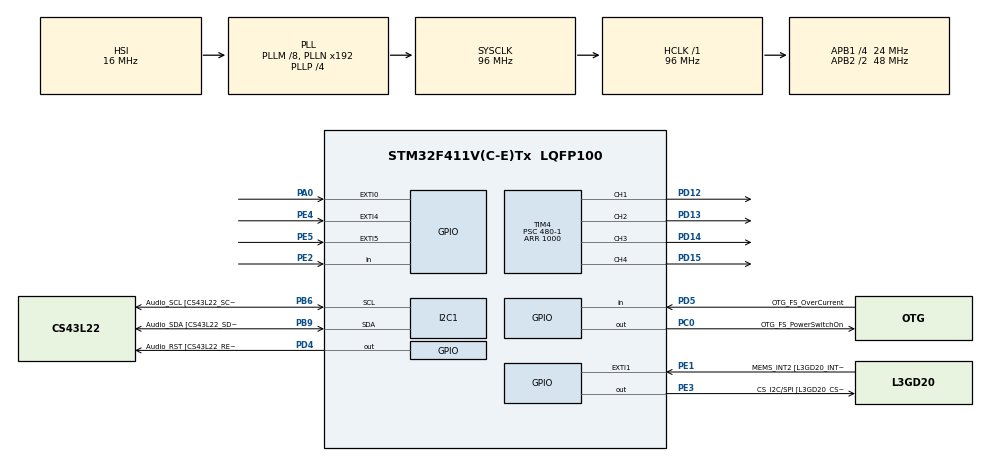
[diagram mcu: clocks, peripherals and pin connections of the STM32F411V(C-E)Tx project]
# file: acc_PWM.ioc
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Mcu.Family=STM32F4
Mcu.Name=STM32F411V(C-E)Tx
Mcu.Package=LQFP100
NVIC.PriorityGroup=NVIC_PRIORITYGROUP_0
NVIC.TIM4_IRQn=true\:0\:0\:false\:false\:true\:true\:true\:true
PA0-WKUP.GPIO_ModeDefaultEXTI=GPIO_MODE_EVT_RISING
PA0-WKUP.Signal=GPXTI0
PA10.GPIO_Label=OTG_FS_ID
PA10.Signal=USB_OTG_FS_ID
PA11.GPIO_Label=OTG_FS_DM
PA11.Signal=USB_OTG_FS_DM
PA12.GPIO_Label=OTG_FS_DP
PA12.Signal=USB_OTG_FS_DP
PA13.GPIO_Label=SWDIO
PA13.Signal=SYS_JTMS-SWDIO
PA14.GPIO_Label=SWCLK
PA14.Signal=SYS_JTCK-SWCLK
PA4.GPIO_Label=I2S3_WS [CS43L22_LRCK]
PA4.GPIO_Mode=GPIO_MODE_AF_PP
PA4.GPIO_PuPd=GPIO_NOPULL
PA4.GPIO_Speed=GPIO_SPEED_FREQ_LOW
PA4.Signal=I2S3_WS
PA5.GPIO_Label=SPI1_SCK [L3GD20_SC/SPC]
PA5.Signal=SPI1_SCK
PA6.GPIO_Label=SPI1_MISO [L3GD20_AS0/SDO]
PA6.Signal=SPI1_MISO
PA7.GPIO_Label=SPI1_MOSI [L3GD20_SDA/SDI/SDO]
PA7.Signal=SPI1_MOSI
PA9.GPIO_Label=VBUS_FS
PA9.Signal=USB_OTG_FS_VBUS
PB10.GPIO_Label=CLK_IN [MP45DT02_CLK]
PB10.Signal=I2S2_CK
PB12.Signal=I2S2_WS
PB3.GPIO_Label=SWO
PB3.Signal=SYS_JTDO-SWO
PB6.GPIO_Label=Audio_SCL [CS43L22_SCL]
PB6.GPIO_Mode=GPIO_MODE_AF_OD
PB6.GPIO_PuPd=GPIO_NOPULL
PB6.GPIO_Speed=GPIO_SPEED_FREQ_LOW
PB6.Mode=I2C
PB6.Signal=I2C1_SCL
PB9.GPIO_Label=Audio_SDA [CS43L22_SDA]
PB9.GPIO_Mode=GPIO_MODE_AF_OD
PB9.GPIO_PuPd=GPIO_NOPULL
PB9.GPIO_Speed=GPIO_SPEED_FREQ_LOW
PB9.Mode=I2C
PB9.Signal=I2C1_SDA
PC0.GPIO_Label=OTG_FS_PowerSwitchOn
PC0.PinState=GPIO_PIN_SET
PC0.Signal=GPIO_Output
PC10.GPIO_Label=I2S3_SCK [CS43L22_SCLK]
PC10.GPIO_Mode=GPIO_MODE_AF_PP
PC10.GPIO_PuPd=GPIO_NOPULL
PC10.GPIO_Speed=GPIO_SPEED_FREQ_LOW
PC10.Signal=I2S3_CK
PC12.GPIO_Label=I2S3_SD [CS43L22_SDIN]
PC12.GPIO_Mode=GPIO_MODE_AF_PP
PC12.GPIO_PuPd=GPIO_NOPULL
PC12.GPIO_Speed=GPIO_SPEED_FREQ_LOW
PC12.Signal=I2S3_SD
PC14-OSC32_IN.GPIO_Label=PC14-OSC32_IN
PC14-OSC32_IN.Signal=RCC_OSC32_IN
PC15-OSC32_OUT.GPIO_Label=PC15-OSC32_OUT
PC15-OSC32_OUT.Signal=RCC_OSC32_OUT
PC3.GPIO_Label=PDM_OUT [MP45DT02_DOUT]
PC3.Signal=I2S2_SD
PC7.GPIO_Label=I2S3_MCK [CS43L22_MCLK]
PC7.GPIO_Mode=GPIO_MODE_AF_PP
PC7.GPIO_PuPd=GPIO_NOPULL
PC7.GPIO_Speed=GPIO_SPEED_FREQ_LOW
PC7.Signal=I2S3_MCK
PD12.Signal=S_TIM4_CH1
PD13.Signal=S_TIM4_CH2
PD14.Signal=S_TIM4_CH3
PD15.Signal=S_TIM4_CH4
PD4.GPIO_Label=Audio_RST [CS43L22_RESET]
PD4.Signal=GPIO_Output
PD5.GPIO_Label=OTG_FS_OverCurrent
PD5.Signal=GPIO_Input
PE1.GPIO_Label=MEMS_INT2 [L3GD20_INT2]
PE1.GPIO_ModeDefaultEXTI=GPIO_MODE_EVT_RISING
PE1.Signal=GPXTI1
PE2.Signal=GPIO_Input
PE3.GPIO_Label=CS_I2C/SPI [L3GD20_CS_I2C/SPI]
PE3.Signal=GPIO_Output
PE4.GPIO_ModeDefaultEXTI=GPIO_MODE_EVT_RISING
PE4.Signal=GPXTI4
PE5.GPIO_ModeDefaultEXTI=GPIO_MODE_EVT_RISING
PE5.Signal=GPXTI5
PH0\ -\ OSC_IN.GPIO_Label=PH0-OSC_IN
PH0\ -\ OSC_IN.Signal=RCC_OSC_IN
PH1\ -\ OSC_OUT.GPIO_Label=PH1-OSC_OUT
PH1\ -\ OSC_OUT.Signal=RCC_OSC_OUT
ProjectManager.HeapSize=0x200
ProjectManager.StackSize=0x400
ProjectManager.TargetToolchain=STM32CubeIDE
RCC.48MHZClocksFreq_Value=48000000
RCC.AHBFreq_Value=96000000
RCC.APB1CLKDivider=RCC_HCLK_DIV4
RCC.APB1Freq_Value=24000000
RCC.APB1TimFreq_Value=48000000
RCC.APB2CLKDivider=RCC_HCLK_DIV2
RCC.APB2Freq_Value=48000000
RCC.APB2TimFreq_Value=96000000
RCC.CortexFreq_Value=96000000
RCC.HCLKFreq_Value=96000000
RCC.HSE_VALUE=8000000
RCC.HSI_VALUE=16000000
RCC.LSE_VALUE=32768
RCC.PLLI2SM=5
RCC.PLLI2SN=200
RCC.PLLM=8
RCC.PLLP=RCC_PLLP_DIV4
RCC.PLLQ=8
RCC.SYSCLKFreq_VALUE=96000000
RCC.SYSCLKSource=RCC_SYSCLKSOURCE_PLLCLK
RCC.VCOOutputFreq_Value=384000000
SH.S_TIM4_CH1.0=TIM4_CH1,PWM Generation1 CH1
SH.S_TIM4_CH2.0=TIM4_CH2,PWM Generation2 CH2
SH.S_TIM4_CH3.0=TIM4_CH3,PWM Generation3 CH3
SH.S_TIM4_CH4.0=TIM4_CH4,PWM Generation4 CH4
TIM4.Channel-PWM\ Generation1\ CH1=TIM_CHANNEL_1
TIM4.Channel-PWM\ Generation2\ CH2=TIM_CHANNEL_2
TIM4.Channel-PWM\ Generation3\ CH3=TIM_CHANNEL_3
TIM4.Channel-PWM\ Generation4\ CH4=TIM_CHANNEL_4
TIM4.Period=1000
TIM4.Prescaler=480-1
TIM4.Pulse-PWM\ Generation1\ CH1=250
TIM4.Pulse-PWM\ Generation2\ CH2=250
TIM4.Pulse-PWM\ Generation3\ CH3=250
TIM4.Pulse-PWM\ Generation4\ CH4=250
VP_TIM4_VS_ClockSourceINT.Mode=Internal
board=STM32F411E-DISCO

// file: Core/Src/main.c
/* USER CODE BEGIN Header */
/**
  ******************************************************************************
  * @file           : main.c
  * @brief          : Main program body
  ******************************************************************************
  * @attention
  *
  * Copyright (c) 2024 STMicroelectronics.
  * All rights reserved.
  *
  * This software is licensed under terms that can be found in the LICENSE file
  * in the root directory of this software component.
  * If no LICENSE file comes with this software, it is provided AS-IS.
  *
  *`Stwórz układ wykorzystujący akcelerometr lub żyroskop do wykrywania poziomu i zapalający
  *	diodę wskazującą kierunek przechylenia płytki.
  *
  ******************************************************************************
  */
/* USER CODE END Header */
#include "main.h"

/* USER CODE BEGIN Includes */
#include <stdio.h>
#include <math.h>
/* USER CODE END Includes */

/* USER CODE BEGIN PTD */
   volatile float xf, yf, zf;
/* USER CODE END PTD */

I2C_HandleTypeDef hi2c1;

TIM_HandleTypeDef htim4;

void SystemClock_Config(void);
static void MX_GPIO_Init(void);
static void MX_I2C1_Init(void);
static void MX_TIM4_Init(void);
/* USER CODE BEGIN PFP */
extern void initialise_monitor_handles(void);
/* USER CODE END PFP */

int main(void)
{

  /* MCU Configuration--------------------------------------------------------*/

  /* Reset of all peripherals, Initializes the Flash interface and the Systick. */
  HAL_Init();

  /* Configure the system clock */
  SystemClock_Config();

  /* USER CODE BEGIN SysInit */
  	initialise_monitor_handles();
	printf("Hello World!\n");
  /* USER CODE END SysInit */

  /* Initialize all configured peripherals */
  MX_GPIO_Init();
  MX_I2C1_Init();
  MX_TIM4_Init();
  /* USER CODE BEGIN 2 */
  // uruchomienie zegara i ch3
	  HAL_TIM_Base_Start_IT(&htim4);
  	  HAL_TIM_PWM_Start_IT(&htim4, TIM_CHANNEL_1);
  	  HAL_TIM_PWM_Start_IT(&htim4, TIM_CHANNEL_2);
  	  HAL_TIM_PWM_Start_IT(&htim4, TIM_CHANNEL_3);
  	  HAL_TIM_PWM_Start_IT(&htim4, TIM_CHANNEL_4);

   uint8_t i2c_receive_buf[6];
   uint8_t i2c_transmit_buf[6];

   uint8_t WHO_AM_I_reg = 0x0F;

   uint8_t ACC_I2C_ADDR = 0b0011001 << 1;

   uint8_t bytes_to_receive = 1;

   HAL_I2C_Mem_Read(&hi2c1, ACC_I2C_ADDR, WHO_AM_I_reg, 1,i2c_receive_buf, bytes_to_receive, 50);

   printf("WHO_AM_I_A: 0x%02X\n", i2c_receive_buf[0]);

 // ------------------------------------------------------- //
   uint8_t CTRL_REG1_A_reg = 0x20;
   HAL_I2C_Mem_Read(&hi2c1, ACC_I2C_ADDR, CTRL_REG1_A_reg, 1,i2c_receive_buf, bytes_to_receive, 50);
   printf("CTRL_REG1_A przed zapisem: 0x%02X\n", i2c_receive_buf[0]);

   i2c_transmit_buf[0] = 0b01010111;
   HAL_I2C_Mem_Write(&hi2c1, ACC_I2C_ADDR, CTRL_REG1_A_reg, 1, i2c_transmit_buf, 1, 50);

   HAL_I2C_Mem_Read(&hi2c1, ACC_I2C_ADDR, CTRL_REG1_A_reg, 1,i2c_receive_buf, bytes_to_receive, 50);
   printf("CTRL_REG1_A po zapisie: 0x%02X\n", i2c_receive_buf[0]);

  /* USER CODE END 2 */

  /* Infinite loop */
  /* USER CODE BEGIN WHILE */
   int16_t x, y, z;

   	float wspolczynnik_fizyczny = 2;

   // float xf, yf, zf;

   	int16_t i2c_receive16bit_buf[3];
   	uint8_t SAMPLES_START_reg = 0x28;
   	uint8_t AUTO_INCREMENT_ADDR = 0x01 << 7;
   	bytes_to_receive = 6;

     while (1)
     {
   	  	HAL_I2C_Mem_Read(&hi2c1, ACC_I2C_ADDR, SAMPLES_START_reg | AUTO_INCREMENT_ADDR, 1, i2c_receive16bit_buf, bytes_to_receive, 50);
   		x = i2c_receive16bit_buf[0];
   		y = i2c_receive16bit_buf[1];
   		z = i2c_receive16bit_buf[2];

   		xf = (float)x / pow(2,15)*wspolczynnik_fizyczny;
   		yf = (float)y / pow(2,15)*wspolczynnik_fizyczny;
   		zf = (float)z / pow(2,15)*wspolczynnik_fizyczny;

   		printf("xf: %04.2f, yf: %04.2f, zf: %04.2f\n", xf, yf, zf);
    /* USER CODE END WHILE */

  }
}

void SystemClock_Config(void)
{
  RCC_OscInitTypeDef RCC_OscInitStruct = {0};
  RCC_ClkInitTypeDef RCC_ClkInitStruct = {0};

  /** Configure the main internal regulator output voltage
  */
  __HAL_RCC_PWR_CLK_ENABLE();
  __HAL_PWR_VOLTAGESCALING_CONFIG(PWR_REGULATOR_VOLTAGE_SCALE1);

  /** Initializes the RCC Oscillators according to the specified parameters
  * in the RCC_OscInitTypeDef structure.
  */
  RCC_OscInitStruct.OscillatorType = RCC_OSCILLATORTYPE_HSI;
  RCC_OscInitStruct.HSIState = RCC_HSI_ON;
  RCC_OscInitStruct.HSICalibrationValue = RCC_HSICALIBRATION_DEFAULT;
  RCC_OscInitStruct.PLL.PLLState = RCC_PLL_ON;
  RCC_OscInitStruct.PLL.PLLSource = RCC_PLLSOURCE_HSI;
  RCC_OscInitStruct.PLL.PLLM = 8;
  RCC_OscInitStruct.PLL.PLLN = 192;
  RCC_OscInitStruct.PLL.PLLP = RCC_PLLP_DIV4;
  RCC_OscInitStruct.PLL.PLLQ = 8;
  if (HAL_RCC_OscConfig(&RCC_OscInitStruct) != HAL_OK)
  {
    Error_Handler();
  }

  /** Initializes the CPU, AHB and APB buses clocks
  */
  RCC_ClkInitStruct.ClockType = RCC_CLOCKTYPE_HCLK|RCC_CLOCKTYPE_SYSCLK
                              |RCC_CLOCKTYPE_PCLK1|RCC_CLOCKTYPE_PCLK2;
  RCC_ClkInitStruct.SYSCLKSource = RCC_SYSCLKSOURCE_PLLCLK;
  RCC_ClkInitStruct.AHBCLKDivider = RCC_SYSCLK_DIV1;
  RCC_ClkInitStruct.APB1CLKDivider = RCC_HCLK_DIV4;
  RCC_ClkInitStruct.APB2CLKDivider = RCC_HCLK_DIV2;

  if (HAL_RCC_ClockConfig(&RCC_ClkInitStruct, FLASH_LATENCY_3) != HAL_OK)
  {
    Error_Handler();
  }
}

static void MX_I2C1_Init(void)
{

  hi2c1.Instance = I2C1;
  hi2c1.Init.ClockSpeed = 100000;
  hi2c1.Init.DutyCycle = I2C_DUTYCYCLE_2;
  hi2c1.Init.OwnAddress1 = 0;
  hi2c1.Init.AddressingMode = I2C_ADDRESSINGMODE_7BIT;
  hi2c1.Init.DualAddressMode = I2C_DUALADDRESS_DISABLE;
  hi2c1.Init.OwnAddress2 = 0;
  hi2c1.Init.GeneralCallMode = I2C_GENERALCALL_DISABLE;
  hi2c1.Init.NoStretchMode = I2C_NOSTRETCH_DISABLE;
  if (HAL_I2C_Init(&hi2c1) != HAL_OK)
  {
    Error_Handler();
  }

}

static void MX_TIM4_Init(void)
{

  TIM_ClockConfigTypeDef sClockSourceConfig = {0};
  TIM_MasterConfigTypeDef sMasterConfig = {0};
  TIM_OC_InitTypeDef sConfigOC = {0};

  htim4.Instance = TIM4;
  htim4.Init.Prescaler = 480-1;
  htim4.Init.CounterMode = TIM_COUNTERMODE_UP;
  htim4.Init.Period = 1000;
  htim4.Init.ClockDivision = TIM_CLOCKDIVISION_DIV1;
  htim4.Init.AutoReloadPreload = TIM_AUTORELOAD_PRELOAD_DISABLE;
  if (HAL_TIM_Base_Init(&htim4) != HAL_OK)
  {
    Error_Handler();
  }
  sClockSourceConfig.ClockSource = TIM_CLOCKSOURCE_INTERNAL;
  if (HAL_TIM_ConfigClockSource(&htim4, &sClockSourceConfig) != HAL_OK)
  {
    Error_Handler();
  }
  if (HAL_TIM_PWM_Init(&htim4) != HAL_OK)
  {
    Error_Handler();
  }
  sMasterConfig.MasterOutputTrigger = TIM_TRGO_RESET;
  sMasterConfig.MasterSlaveMode = TIM_MASTERSLAVEMODE_DISABLE;
  if (HAL_TIMEx_MasterConfigSynchronization(&htim4, &sMasterConfig) != HAL_OK)
  {
    Error_Handler();
  }
  sConfigOC.OCMode = TIM_OCMODE_PWM1;
  sConfigOC.Pulse = 250;
  sConfigOC.OCPolarity = TIM_OCPOLARITY_HIGH;
  sConfigOC.OCFastMode = TIM_OCFAST_DISABLE;
  if (HAL_TIM_PWM_ConfigChannel(&htim4, &sConfigOC, TIM_CHANNEL_1) != HAL_OK)
  {
    Error_Handler();
  }
  if (HAL_TIM_PWM_ConfigChannel(&htim4, &sConfigOC, TIM_CHANNEL_2) != HAL_OK)
  {
    Error_Handler();
  }
  if (HAL_TIM_PWM_ConfigChannel(&htim4, &sConfigOC, TIM_CHANNEL_3) != HAL_OK)
  {
    Error_Handler();
  }
  if (HAL_TIM_PWM_ConfigChannel(&htim4, &sConfigOC, TIM_CHANNEL_4) != HAL_OK)
  {
    Error_Handler();
  }
  HAL_TIM_MspPostInit(&htim4);

}

static void MX_GPIO_Init(void)
{
  GPIO_InitTypeDef GPIO_InitStruct = {0};

  /* GPIO Ports Clock Enable */
  __HAL_RCC_GPIOE_CLK_ENABLE();
  __HAL_RCC_GPIOC_CLK_ENABLE();
  __HAL_RCC_GPIOH_CLK_ENABLE();
  __HAL_RCC_GPIOA_CLK_ENABLE();
  __HAL_RCC_GPIOB_CLK_ENABLE();
  __HAL_RCC_GPIOD_CLK_ENABLE();

  /*Configure GPIO pin Output Level */
  HAL_GPIO_WritePin(CS_I2C_SPI_GPIO_Port, CS_I2C_SPI_Pin, GPIO_PIN_RESET);

  /*Configure GPIO pin Output Level */
  HAL_GPIO_WritePin(OTG_FS_PowerSwitchOn_GPIO_Port, OTG_FS_PowerSwitchOn_Pin, GPIO_PIN_SET);

  /*Configure GPIO pin Output Level */
  HAL_GPIO_WritePin(Audio_RST_GPIO_Port, Audio_RST_Pin, GPIO_PIN_RESET);

  /*Configure GPIO pin : PE2 */
  GPIO_InitStruct.Pin = GPIO_PIN_2;
  GPIO_InitStruct.Mode = GPIO_MODE_INPUT;
  GPIO_InitStruct.Pull = GPIO_NOPULL;
  HAL_GPIO_Init(GPIOE, &GPIO_InitStruct);

  /*Configure GPIO pin : CS_I2C_SPI_Pin */
  GPIO_InitStruct.Pin = CS_I2C_SPI_Pin;
  GPIO_InitStruct.Mode = GPIO_MODE_OUTPUT_PP;
  GPIO_InitStruct.Pull = GPIO_NOPULL;
  GPIO_InitStruct.Speed = GPIO_SPEED_FREQ_LOW;
  HAL_GPIO_Init(CS_I2C_SPI_GPIO_Port, &GPIO_InitStruct);

  /*Configure GPIO pins : PE4 PE5 MEMS_INT2_Pin */
  GPIO_InitStruct.Pin = GPIO_PIN_4|GPIO_PIN_5|MEMS_INT2_Pin;
  GPIO_InitStruct.Mode = GPIO_MODE_EVT_RISING;
  GPIO_InitStruct.Pull = GPIO_NOPULL;
  HAL_GPIO_Init(GPIOE, &GPIO_InitStruct);

  /*Configure GPIO pin : OTG_FS_PowerSwitchOn_Pin */
  GPIO_InitStruct.Pin = OTG_FS_PowerSwitchOn_Pin;
  GPIO_InitStruct.Mode = GPIO_MODE_OUTPUT_PP;
  GPIO_InitStruct.Pull = GPIO_NOPULL;
  GPIO_InitStruct.Speed = GPIO_SPEED_FREQ_LOW;
  HAL_GPIO_Init(OTG_FS_PowerSwitchOn_GPIO_Port, &GPIO_InitStruct);

  /*Configure GPIO pin : PDM_OUT_Pin */
  GPIO_InitStruct.Pin = PDM_OUT_Pin;
  GPIO_InitStruct.Mode = GPIO_MODE_AF_PP;
  GPIO_InitStruct.Pull = GPIO_NOPULL;
  GPIO_InitStruct.Speed = GPIO_SPEED_FREQ_LOW;
  GPIO_InitStruct.Alternate = GPIO_AF5_SPI2;
  HAL_GPIO_Init(PDM_OUT_GPIO_Port, &GPIO_InitStruct);

  /*Configure GPIO pin : PA0 */
  GPIO_InitStruct.Pin = GPIO_PIN_0;
  GPIO_InitStruct.Mode = GPIO_MODE_EVT_RISING;
  GPIO_InitStruct.Pull = GPIO_NOPULL;
  HAL_GPIO_Init(GPIOA, &GPIO_InitStruct);

  /*Configure GPIO pin : I2S3_WS_Pin */
  GPIO_InitStruct.Pin = I2S3_WS_Pin;
  GPIO_InitStruct.Mode = GPIO_MODE_AF_PP;
  GPIO_InitStruct.Pull = GPIO_NOPULL;
  GPIO_InitStruct.Speed = GPIO_SPEED_FREQ_LOW;
  GPIO_InitStruct.Alternate = GPIO_AF6_SPI3;
  HAL_GPIO_Init(I2S3_WS_GPIO_Port, &GPIO_InitStruct);

  /*Configure GPIO pins : SPI1_SCK_Pin SPI1_MISO_Pin SPI1_MOSI_Pin */
  GPIO_InitStruct.Pin = SPI1_SCK_Pin|SPI1_MISO_Pin|SPI1_MOSI_Pin;
  GPIO_InitStruct.Mode = GPIO_MODE_AF_PP;
  GPIO_InitStruct.Pull = GPIO_NOPULL;
  GPIO_InitStruct.Speed = GPIO_SPEED_FREQ_VERY_HIGH;
  GPIO_InitStruct.Alternate = GPIO_AF5_SPI1;
  HAL_GPIO_Init(GPIOA, &GPIO_InitStruct);

  /*Configure GPIO pins : CLK_IN_Pin PB12 */
  GPIO_InitStruct.Pin = CLK_IN_Pin|GPIO_PIN_12;
  GPIO_InitStruct.Mode = GPIO_MODE_AF_PP;
  GPIO_InitStruct.Pull = GPIO_NOPULL;
  GPIO_InitStruct.Speed = GPIO_SPEED_FREQ_LOW;
  GPIO_InitStruct.Alternate = GPIO_AF5_SPI2;
  HAL_GPIO_Init(GPIOB, &GPIO_InitStruct);

  /*Configure GPIO pins : I2S3_MCK_Pin I2S3_SCK_Pin I2S3_SD_Pin */
  GPIO_InitStruct.Pin = I2S3_MCK_Pin|I2S3_SCK_Pin|I2S3_SD_Pin;
  GPIO_InitStruct.Mode = GPIO_MODE_AF_PP;
  GPIO_InitStruct.Pull = GPIO_NOPULL;
  GPIO_InitStruct.Speed = GPIO_SPEED_FREQ_LOW;
  GPIO_InitStruct.Alternate = GPIO_AF6_SPI3;
  HAL_GPIO_Init(GPIOC, &GPIO_InitStruct);

  /*Configure GPIO pin : VBUS_FS_Pin */
  GPIO_InitStruct.Pin = VBUS_FS_Pin;
  GPIO_InitStruct.Mode = GPIO_MODE_INPUT;
  GPIO_InitStruct.Pull = GPIO_NOPULL;
  HAL_GPIO_Init(VBUS_FS_GPIO_Port, &GPIO_InitStruct);

  /*Configure GPIO pins : OTG_FS_ID_Pin OTG_FS_DM_Pin OTG_FS_DP_Pin */
  GPIO_InitStruct.Pin = OTG_FS_ID_Pin|OTG_FS_DM_Pin|OTG_FS_DP_Pin;
  GPIO_InitStruct.Mode = GPIO_MODE_AF_PP;
  GPIO_InitStruct.Pull = GPIO_NOPULL;
  GPIO_InitStruct.Speed = GPIO_SPEED_FREQ_VERY_HIGH;
  GPIO_InitStruct.Alternate = GPIO_AF10_OTG_FS;
  HAL_GPIO_Init(GPIOA, &GPIO_InitStruct);

  /*Configure GPIO pin : Audio_RST_Pin */
  GPIO_InitStruct.Pin = Audio_RST_Pin;
  GPIO_InitStruct.Mode = GPIO_MODE_OUTPUT_PP;
  GPIO_InitStruct.Pull = GPIO_NOPULL;
  GPIO_InitStruct.Speed = GPIO_SPEED_FREQ_LOW;
  HAL_GPIO_Init(Audio_RST_GPIO_Port, &GPIO_InitStruct);

  /*Configure GPIO pin : OTG_FS_OverCurrent_Pin */
  GPIO_InitStruct.Pin = OTG_FS_OverCurrent_Pin;
  GPIO_InitStruct.Mode = GPIO_MODE_INPUT;
  GPIO_InitStruct.Pull = GPIO_NOPULL;
  HAL_GPIO_Init(OTG_FS_OverCurrent_GPIO_Port, &GPIO_InitStruct);

}

/* USER CODE BEGIN 4 */
// do PWM
uint32_t pulse_val;
void HAL_TIM_PWM_PulseFinishedCallback(TIM_HandleTypeDef *htim)
{
    if(htim == &htim4) // Sprawdzenie, czy to właściwy timer
    {
    	int xf_pulse,yf_pulse;

    	//x
        xf_pulse = fabs(xf) * 1000;
        if (xf_pulse > 1000) {
            xf_pulse = 1000;
        }
        if(xf>0){
            __HAL_TIM_SET_COMPARE(&htim4, TIM_CHANNEL_2, xf_pulse);
            __HAL_TIM_SET_COMPARE(&htim4, TIM_CHANNEL_4, 0);
        }else if(xf==0){

        }else{
            __HAL_TIM_SET_COMPARE(&htim4, TIM_CHANNEL_4, xf_pulse);
            __HAL_TIM_SET_COMPARE(&htim4, TIM_CHANNEL_2, 0);
        }

        //y
        yf_pulse = fabs(yf) * 1000;
        if (yf_pulse > 1000) {
            yf_pulse = 1000;
        }

        if(yf>0){
            __HAL_TIM_SET_COMPARE(&htim4, TIM_CHANNEL_3, yf_pulse);
            __HAL_TIM_SET_COMPARE(&htim4, TIM_CHANNEL_1, 0);
        }else if(yf==0){

        }else{
            __HAL_TIM_SET_COMPARE(&htim4, TIM_CHANNEL_1, yf_pulse);
            __HAL_TIM_SET_COMPARE(&htim4, TIM_CHANNEL_3, 0);
        }

    }
}
/* USER CODE END 4 */

void Error_Handler(void)
{
  __disable_irq();
  while (1)
  {
  }
}
